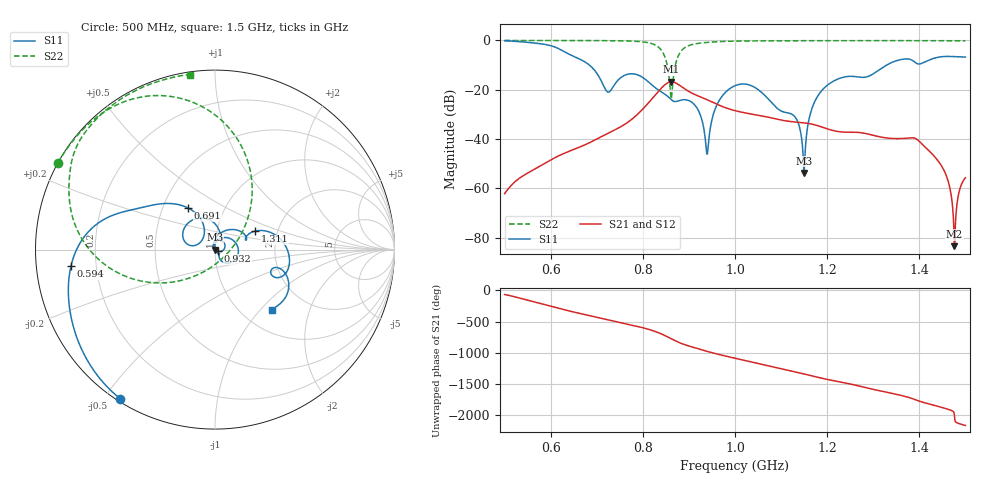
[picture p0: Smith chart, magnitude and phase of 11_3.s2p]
! TOUCHSTONE file generated by CST MICROWAVE STUDIO
! Date and time: Fri Oct 30 07:53:51 2020
! Project name: Scenario_1_Circular_Tissue_out_of_Line.cst
! Parameters = {dy1=-172.59; L_HA=400; MT=2.54; Rad_Dielectric=30; Rad_Lower=7.3; Rad_Upper=30; a_HA=580; a_WG=246; b_HA=500; b_WG=121; c_HA=0; c_WG=187; d_feed=85; dx1=520; h_feed=15; h_lower=18; h_upper=40}
! Header version: 2018
! Port assignment regex: !\s*Touchstone port\s*([0-9]+)\s*=\s*(CST MWS port|CST DS port)\s*([0-9]+|Zmin|Zmax)\s*\(\"(.*)\"\)(\s*mode\s*([0-9]+))?.*
! Touchstone port assignment:
! Touchstone port 1 = CST MWS port 1 ("")
! Touchstone port 2 = CST MWS port 2 ("")
# GHz S DB R 50
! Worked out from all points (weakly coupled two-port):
!   1001 points, 500 MHz to 1.5 GHz, reference 50 ohm
!   highest |S21| = -16.79 dB at 862 MHz (marker M1); lowest = -83.4 dB at 1.476 GHz (marker M2)
!   lowest |S11| = -53.7 dB at 1.15 GHz (marker M3), VSWR 1.00, Z = 49.8 - j0.0615 ohm
!   |S11| at or under -10 dB: 684 MHz to 1.329 GHz (645 MHz wide, 64.1 % of centre)
!   |S22| runs from -23.7 to 0.0 dB; largest |S21 - S12| = 1.3e-05
!   S11 on the Smith chart (normalised r, x): 500 MHz: 0.01, -0.55; 594 MHz: 0.11, -0.06; 691 MHz: 0.67, +0.34; 932 MHz: 1.03, -0.02; 1.311 GHz: 1.53, +0.34; 1.5 GHz: 1.36, -1.16
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0.5  -0.14 -122.3  -62.14 -66.4  -62.14 -66.4  -0.01 151.1
0.594  -1.85 -173.4  -49.13 117.1  -49.14 117.1  -0.02 144.6
0.667  -7.94 140.6  -42.95 -16.7  -42.95 -16.7  -0.04 138.4
0.691  -11.21 122.8  -40.86 -56.5  -40.86 -56.5  -0.06 136.0
0.724  -20.94 142.1  -37.70 -112.9  -37.70 -112.9  -0.09 131.9
0.775  -13.53 138.6  -32.13 163.6  -32.13 163.6  -0.27 122.3
0.834  -20.15 73.2  -20.60 39.0  -20.60 39.0  -2.73 88.0
0.862  -24.09 54.1  -16.79 -59.4  -16.79 -59.4  -23.68 -60.7
0.883  -24.17 47.6  -18.62 -131.2  -18.62 -131.2  -4.37 -170.9
0.932  -35.40 -27.3  -23.44 115.6  -23.44 115.6  -0.93 154.8
0.94  -46.09 44.4  -24.08 98.7  -24.08 98.7  -0.80 152.5
0.961  -26.02 77.1  -25.88 57.0  -25.88 57.0  -0.52 147.6
1  -18.36 18.3  -28.47 -11.0  -28.47 -11.0  -0.27 140.8
1.127  -30.40 -45.6  -33.02 134.8  -33.02 134.8  -0.12 127.6
1.15  -53.74 -162.5  -33.43 95.3  -33.43 95.3  -0.11 125.8
1.167  -27.60 97.4  -33.95 64.5  -33.95 64.5  -0.10 124.4
1.311  -12.16 24.7  -38.97 -169.7  -38.97 -169.7  -0.08 113.4
1.334  -9.50 15.4  -39.67 154.6  -39.67 154.6  -0.09 111.7
1.438  -6.93 -24.3  -48.19 -59.8  -48.19 -59.8  -0.11 103.5
1.462  -6.47 -36.0  -56.71 -111.4  -56.70 -111.3  -0.11 101.5
1.476  -6.57 -41.1  -83.45 169.4  -83.30 170.0  -0.12 100.3
1.5  -6.71 -46.4  -55.67 -12.2  -55.67 -12.0  -0.13 98.1
